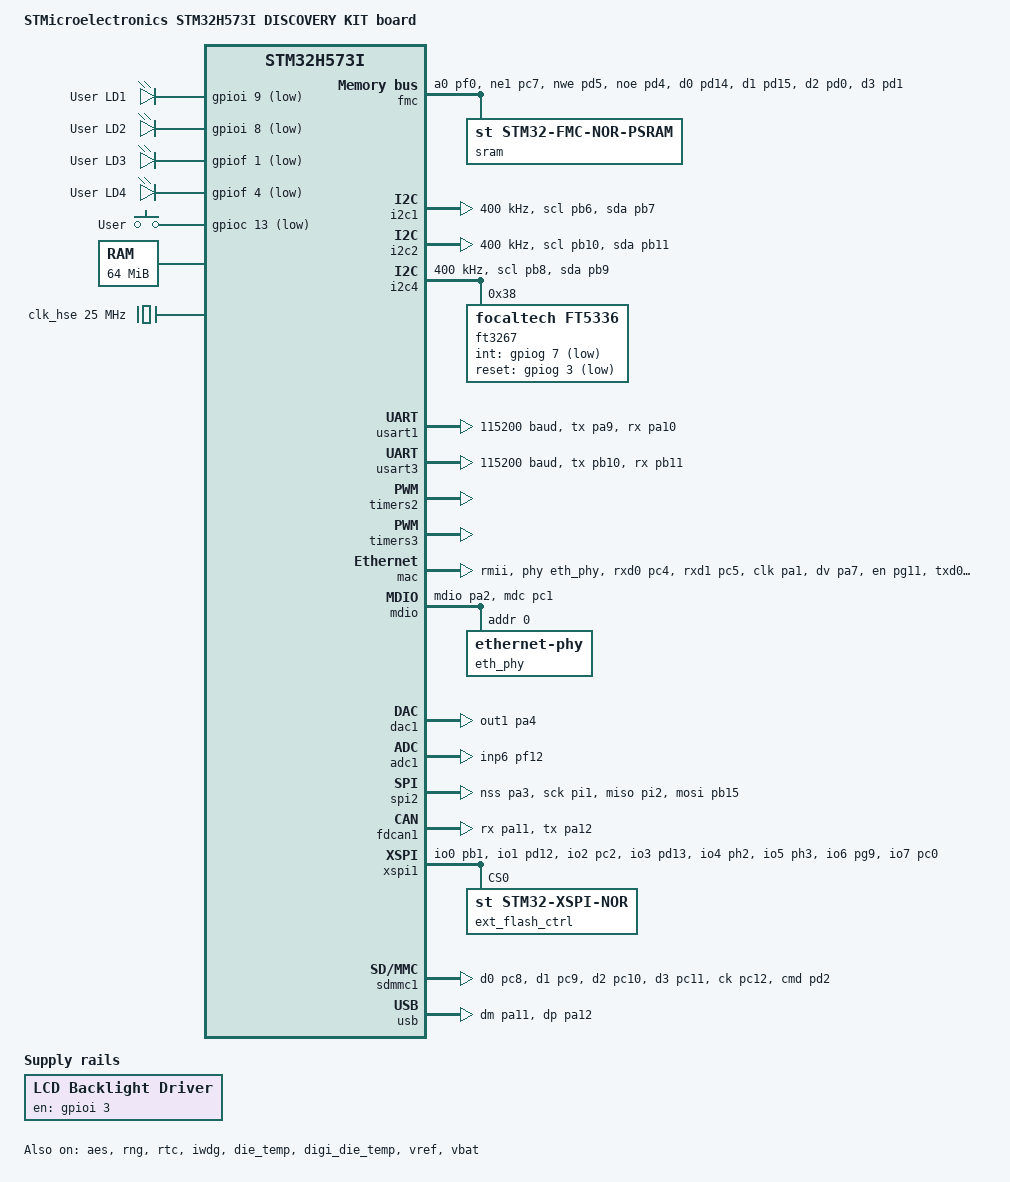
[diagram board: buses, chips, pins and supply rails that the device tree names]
/*
 * Copyright (c) 2023 STMicroelectronics
 *
 * SPDX-License-Identifier: Apache-2.0
 */

#include <st/h5/stm32h573Xi.dtsi>
#include <st/h5/stm32h573iikxq-pinctrl.dtsi>
#include "arduino_r3_connector.dtsi"
#include <zephyr/dt-bindings/input/input-event-codes.h>
#include <zephyr/dt-bindings/memory-attr/memory-attr.h>
#include <zephyr/dt-bindings/memory-attr/memory-attr-arm.h>
#include <zephyr/dt-bindings/memory-controller/stm32-fmc-nor-psram.h>
#include <zephyr/dt-bindings/mipi_dbi/mipi_dbi.h>

/ {
	model = "STMicroelectronics STM32H573I DISCOVERY KIT board";
	compatible = "st,stm32h573i-dk";

	chosen {
		zephyr,console = &usart1;
		zephyr,shell-uart = &usart1;
		zephyr,sram = &sram1;
		zephyr,canbus = &fdcan1;
		zephyr,display = &st7789v;
		zephyr,touch = &ft3267;
	};

	leds {
		compatible = "gpio-leds";

		green_led_0: led_1 {
			gpios = <&gpioi 9 GPIO_ACTIVE_LOW>;
			label = "User LD1";
		};

		orange_led_0: led_2 {
			gpios = <&gpioi 8 GPIO_ACTIVE_LOW>;
			label = "User LD2";
		};

		red_led_0: led_3 {
			gpios = <&gpiof 1 GPIO_ACTIVE_LOW>;
			label = "User LD3";
		};

		blue_led_0: led_4 {
			gpios = <&gpiof 4 GPIO_ACTIVE_LOW>;
			label = "User LD4";
		};
	};

	gpio_keys {
		compatible = "gpio-keys";

		user_button: button {
			label = "User";
			gpios = <&gpioc 13 GPIO_ACTIVE_LOW>;
			zephyr,code = <INPUT_KEY_0>;
		};
	};

	lcd_bl_ctrl {
		compatible = "regulator-fixed";
		regulator-name = "LCD Backlight Driver";
		enable-gpios = <&gpioi 3 GPIO_ACTIVE_HIGH>;
		regulator-boot-on;
	};

	aliases {
		led0 = &blue_led_0;
		sw0 = &user_button;
		watchdog0 = &iwdg;
		die-temp0 = &die_temp;
		die-temp1 = &digi_die_temp;
		volt-sensor0 = &vref;
		volt-sensor1 = &vbat;
	};

	ext_flash_mem: memory@90000000 {
		compatible = "zephyr,memory-region";
		reg = <0x90000000 DT_SIZE_M(64)>;
		zephyr,memory-region = "EXT_FLASH";
		/* DT_MEM_ARM_MPU_EXTMEM and DT_MEM_ARM_MPU_FLASH cause MPU issues */
		zephyr,memory-attr = <DT_MEM_ARM_MPU_IO>;
	};
};

&fmc {
	pinctrl-0 = <&fmc_a0_pf0 &fmc_ne1_pc7 &fmc_nwe_pd5 &fmc_noe_pd4
		     &fmc_d0_pd14 &fmc_d1_pd15 &fmc_d2_pd0 &fmc_d3_pd1
		     &fmc_d4_pe7 &fmc_d5_pe8 &fmc_d6_pe9 &fmc_d7_pe10
		     &fmc_d8_pe11 &fmc_d9_pe12 &fmc_d10_pe13 &fmc_d11_pe14
		     &fmc_d12_pe15 &fmc_d13_pd8 &fmc_d14_pd9 &fmc_d15_pd10>;
	pinctrl-names = "default";
	status = "okay";

	sram {
		compatible = "st,stm32-fmc-nor-psram";

		#address-cells = <1>;
		#size-cells = <0>;

		bank@0 {
			reg = <STM32_FMC_NORSRAM_BANK1>;
			st,control = <STM32_FMC_DATA_ADDRESS_MUX_DISABLE
				      STM32_FMC_MEMORY_TYPE_SRAM
				      STM32_FMC_NORSRAM_MEM_BUS_WIDTH_16
				      STM32_FMC_BURST_ACCESS_MODE_DISABLE
				      STM32_FMC_WAIT_SIGNAL_POLARITY_LOW
				      STM32_FMC_WAIT_TIMING_BEFORE_WS
				      STM32_FMC_WRITE_OPERATION_ENABLE
				      STM32_FMC_WAIT_SIGNAL_DISABLE
				      STM32_FMC_EXTENDED_MODE_DISABLE
				      STM32_FMC_ASYNCHRONOUS_WAIT_DISABLE
				      STM32_FMC_WRITE_BURST_DISABLE
				      STM32_FMC_CONTINUOUS_CLOCK_SYNC_ONLY
				      STM32_FMC_WRITE_FIFO_DISABLE
				      STM32_FMC_PAGE_SIZE_NONE>;
			st,timing = <1 1 32 0 2 2 STM32_FMC_ACCESS_MODE_A>;

			fmc-mipi-dbi {
				compatible = "st,stm32-fmc-mipi-dbi";
				reset-gpios = <&gpioh 13 GPIO_ACTIVE_LOW>;
				power-gpios = <&gpioc 6 GPIO_ACTIVE_LOW>;
				register-select-pin = <0>;
				#address-cells = <1>;
				#size-cells = <0>;

				st7789v: lcd-panel@0 {
					compatible = "sitronix,st7789v";
					reg = <0>;
					mipi-mode = "MIPI_DBI_MODE_8080_BUS_16_BIT";
					/* A write cycle should be 68ns */
					mipi-max-frequency = <14705882>;
					width = <240>;
					height = <240>;
					x-offset = <0>;
					y-offset = <0>;
					vcom = <0x1f>;
					gctrl = <0x35>;
					vdvs = <0x20>;
					mdac = <0x00>;
					gamma = <0x01>;
					colmod = <0x05>;
					lcm = <0x2c>;
					porch-param = [0c 0c 00 33 33];
					cmd2en-param = [5a 69 02 00];
					pwctrl1-param = [a4 a1];
					pvgam-param = [D0 08 11 08 0C 15 39 33 50 36 13 14 29 2D];
					nvgam-param = [D0 08 10 08 06 06 39 44 51 0B 16 14 2F 31];
					ram-param = [00 F0];
					rgb-param = [40 02 14];
				};
			};
		};
	};
};

&clk_hsi48 {
	status = "okay";
};

&clk_lse {
	status = "okay";
};

&clk_hse {
	clock-frequency = <DT_FREQ_M(25)>;
	hse-bypass; /* X3 is a 25MHz oscillator on PH0 */
	status = "okay";
};

&pll {
	div-m = <5>;
	mul-n = <96>;
	div-p = <2>;
	div-q = <6>;
	div-r = <2>;
	clocks = <&clk_hse>;
	status = "okay";
};

&rcc {
	clocks = <&pll>;
	clock-frequency = <DT_FREQ_M(240)>;
	ahb-prescaler = <1>;
	apb1-prescaler = <2>;
	apb2-prescaler = <1>;
	apb3-prescaler = <1>;
};

&i2c1 {
	pinctrl-0 = <&i2c1_scl_pb6 &i2c1_sda_pb7>;
	pinctrl-names = "default";
	clock-frequency = <I2C_BITRATE_FAST>;
	status = "okay";
};

&i2c2 {
	pinctrl-0 = <&i2c2_scl_pb10 &i2c2_sda_pb11>;
	pinctrl-names = "default";
	clock-frequency = <I2C_BITRATE_FAST>;
	status = "okay";
};

&i2c4 {
	pinctrl-0 = <&i2c4_scl_pb8 &i2c4_sda_pb9>;
	pinctrl-names = "default";
	clock-frequency = <I2C_BITRATE_FAST>;
	status = "okay";

	ft3267: ft3267@38 {
		compatible = "focaltech,ft5336";
		reg = <0x38>;
		int-gpios = <&gpiog 7 GPIO_ACTIVE_LOW>;
		reset-gpios = <&gpiog 3 GPIO_ACTIVE_LOW>;
		inverted-y;
		screen-width = <240>;
		screen-height = <240>;
	};
};

&usart1 {
	pinctrl-0 = <&usart1_tx_pa9 &usart1_rx_pa10>;
	pinctrl-names = "default";
	current-speed = <115200>;
	status = "okay";
};

&usart3 {
	pinctrl-0 = <&usart3_tx_pb10 &usart3_rx_pb11>;
	pinctrl-names = "default";
	current-speed = <115200>;
	status = "okay";
};

&timers2 {
	st,prescaler = <10000>;
	status = "okay";

	pwm2: pwm {
		status = "okay";
		pinctrl-0 = <&tim2_ch4_pa3>;
		pinctrl-names = "default";
	};
};

&timers3 {
	st,prescaler = <10000>;
	status = "okay";

	pwm3: pwm {
		status = "okay";
		pinctrl-0 = <&tim3_ch2_pb5>;
		pinctrl-names = "default";
	};
};

&aes {
	status = "okay";
};

&rng {
	status = "okay";
};

&mac {
	status = "okay";
	pinctrl-0 = <&eth_rxd0_pc4
		     &eth_rxd1_pc5
		     &eth_ref_clk_pa1
		     &eth_crs_dv_pa7
		     &eth_tx_en_pg11
		     &eth_txd0_pg13
		     &eth_txd1_pg12>;
	pinctrl-names = "default";
	phy-connection-type = "rmii";
	phy-handle = <&eth_phy>;
};

&mdio {
	status = "okay";
	pinctrl-0 = <&eth_mdio_pa2 &eth_mdc_pc1>;
	pinctrl-names = "default";

	eth_phy: ethernet-phy@0 {
		compatible = "ethernet-phy";
		reg = <0x00>;
	};
};

&rtc {
	clocks = <&rcc STM32_CLOCK(APB3, 21)>,
		 <&rcc STM32_SRC_LSE RTC_SEL(1)>;
	status = "okay";
};

&iwdg {
	status = "okay";
};

&gpdma1 {
	status = "okay";
};

&gpdma2 {
	status = "okay";
};

&dac1 {
	/* only 2 output channels : out1 on pa4 or out2 on pa5 */
	pinctrl-0 = <&dac1_out1_pa4>;  /* Arduino A1 */
	pinctrl-names = "default";
	status = "okay";
};

&adc1 {
	clocks = <&rcc STM32_CLOCK(AHB2, 10)>,
		 <&rcc STM32_SRC_HCLK ADCDAC_SEL(0)>;
	clock-names = "adcx", "adc_ker";
	pinctrl-0 = <&adc1_inp6_pf12>; /* Arduino A5 */
	pinctrl-names = "default";
	st,adc-clock-source = "ASYNC";
	st,adc-prescaler = <6>;
	status = "okay";
};

&spi2 {
	pinctrl-0 = <&spi2_nss_pa3 &spi2_sck_pi1
		     &spi2_miso_pi2 &spi2_mosi_pb15>;
	pinctrl-names = "default";
	status = "okay";
};

&fdcan1 {
	clocks = <&rcc STM32_CLOCK(APB1_2, 9)>,
		 <&rcc STM32_SRC_PLL1_Q FDCAN_SEL(1)>;
	pinctrl-0 = <&fdcan1_rx_pa11 &fdcan1_tx_pa12>;
	pinctrl-names = "default";
	status = "okay";
};

&xspi1 {
	pinctrl-0 = <&octospi1_io0_pb1 &octospi1_io1_pd12
		     &octospi1_io2_pc2 &octospi1_io3_pd13
		     &octospi1_io4_ph2 &octospi1_io5_ph3
		     &octospi1_io6_pg9 &octospi1_io7_pc0
		     &octospi1_clk_pf10 &octospi1_ncs_pg6
		     &octospi1_dqs_pb2>;
	pinctrl-names = "default";

	status = "okay";

	ext_flash_ctrl: xspi-flash-controller@0 {
		compatible = "st,stm32-xspi-nor";
		reg = <0>;
		size = <DT_SIZE_M(512)>; /* 512 Mbits */
		ospi-max-frequency = <DT_FREQ_M(50)>;
		spi-bus-width = <XSPI_OCTO_MODE>;
		data-rate = <XSPI_DTR_TRANSFER>;
		four-byte-opcodes;
		status = "okay";

		#address-cells = <1>;
		#size-cells = <1>;
		ranges = <0x0 0x90000000 DT_SIZE_M(64)>; /* Ext Flash mem-mapped to 0x90000000 */

		ext_flash: mx25lm51245: ext-flash@0 {
			compatible = "soc-nv-flash";
			reg = <0x0 DT_SIZE_M(64)>;
			write-block-size = <1>;
			erase-block-size = <DT_SIZE_K(4)>;
		};
	};
};

&sdmmc1 {
	pinctrl-0 = <&sdmmc1_d0_pc8 &sdmmc1_d1_pc9
		     &sdmmc1_d2_pc10 &sdmmc1_d3_pc11
		     &sdmmc1_ck_pc12 &sdmmc1_cmd_pd2>;
	pinctrl-names = "default";
	cd-gpios = <&gpioh 14 (GPIO_ACTIVE_LOW | GPIO_PULL_UP)>;
	disk-name = "SD";
	status = "okay";
};

zephyr_udc0: &usb {
	pinctrl-0 = <&usb_dm_pa11 &usb_dp_pa12>;
	pinctrl-names = "default";
	status = "okay";
};

&die_temp {
	status = "okay";
};

&digi_die_temp {
	status = "okay";
};

&vref {
	status = "okay";
};

&vbat {
	status = "okay";
};
